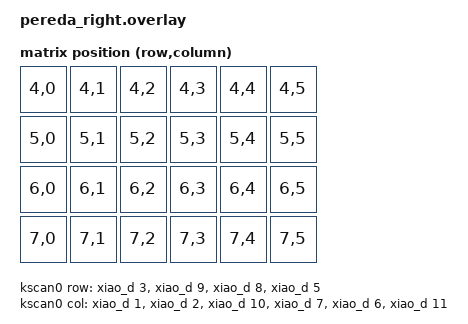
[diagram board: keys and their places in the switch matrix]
#include <dt-bindings/zmk/matrix_transform.h>

/ {
    kscan0: kscan {
        compatible = "zmk,kscan-gpio-matrix";
        diode-direction = "col2row";

        row-gpios =
            <&xiao_d 3 GPIO_ACTIVE_HIGH>,
            <&xiao_d 9 GPIO_ACTIVE_HIGH>,
            <&xiao_d 8 GPIO_ACTIVE_HIGH>,
            <&xiao_d 5 GPIO_ACTIVE_HIGH>;

        col-gpios =
            <&xiao_d 1 GPIO_ACTIVE_HIGH>,
            <&xiao_d 2 GPIO_ACTIVE_HIGH>,
            <&xiao_d 10 GPIO_ACTIVE_HIGH>,
            <&xiao_d 7 GPIO_ACTIVE_HIGH>,
            <&xiao_d 6 GPIO_ACTIVE_HIGH>,
            <&xiao_d 11 GPIO_ACTIVE_HIGH>;
    };

    matrix_transform: matrix_transform {
        compatible = "zmk,matrix-transform";

        columns = <6>;
        rows = <8>;

        map = <
            RC(4,0) RC(4,1) RC(4,2) RC(4,3) RC(4,4) RC(4,5)
            RC(5,0) RC(5,1) RC(5,2) RC(5,3) RC(5,4) RC(5,5)
            RC(6,0) RC(6,1) RC(6,2) RC(6,3) RC(6,4) RC(6,5)
            RC(7,0) RC(7,1) RC(7,2) RC(7,3) RC(7,4) RC(7,5)
        >;
    };
};
